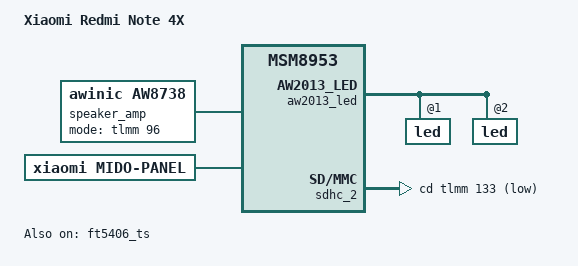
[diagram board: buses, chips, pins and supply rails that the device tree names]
// SPDX-License-Identifier: BSD-3-Clause
/dts-v1/;

#include "msm8953-xiaomi-common.dtsi"

/delete-node/ &cont_splash_mem;
/delete-node/ &qseecom_mem;

/ {
	model = "Xiaomi Redmi Note 4X";
	compatible = "xiaomi,mido", "qcom,msm8953";
	qcom,board-id = <11 0>;

	aliases {
		mmc0 = &sdhc_1;
		mmc1 = &sdhc_2;
	};

	speaker_amp: audio-amplifier {
		compatible = "awinic,aw8738";
		mode-gpios = <&tlmm 96 GPIO_ACTIVE_HIGH>;
		awinic,mode = <5>;
		sound-name-prefix = "Speaker Amp";
	};

	chosen {
		#address-cells = <2>;
		#size-cells = <2>;
		ranges;

		framebuffer@90001000 {
			compatible = "simple-framebuffer";
			reg = <0 0x90001000 0 (1920 * 1080 * 3)>;

			width = <1080>;
			height = <1920>;
			stride = <(1080 * 3)>;
			format = "r8g8b8";

			power-domains = <&gcc MDSS_GDSC>;

			clocks = <&gcc GCC_MDSS_AHB_CLK>,
				 <&gcc GCC_MDSS_AXI_CLK>,
				 <&gcc GCC_MDSS_VSYNC_CLK>,
				 <&gcc GCC_MDSS_MDP_CLK>,
				 <&gcc GCC_MDSS_BYTE0_CLK>,
				 <&gcc GCC_MDSS_PCLK0_CLK>,
				 <&gcc GCC_MDSS_ESC0_CLK>;
		};
	};

	reserved-memory {
		qseecom_mem: qseecom@84a00000 {
			reg = <0x0 0x84a00000 0x0 0x1900000>;
			no-map;
		};

		cont_splash_mem: cont-splash@90001000 {
			reg = <0x0 0x90001000 0x0 (1080 * 1920 * 3)>;
			no-map;
		};

		ramoops@9ff00000 {
			compatible = "ramoops";
			reg = <0x0 0x9ff00000 0x0 0x00100000>;
			console-size = <0x100000>;
		};
	};
};

&aw2013_led {
	status = "okay";

	led@1 {
		reg = <1>;
		color = <LED_COLOR_ID_GREEN>;
		function = LED_FUNCTION_INDICATOR;
		led-max-microamp = <5000>;
	};

	led@2 {
		reg = <2>;
		color = <LED_COLOR_ID_BLUE>;
		function = LED_FUNCTION_INDICATOR;
		led-max-microamp = <5000>;
	};
};

&battery {
	charge-full-design-microamp-hours = <4100000>;
	constant-charge-current-max-microamp = <1000000>;
	voltage-min-design-microvolt = <3400000>;
	voltage-max-design-microvolt = <4380000>;
};

&ft5406_ts {
	status = "okay";

	touchscreen-size-x = <1080>;
	touchscreen-size-y = <1920>;
};

&panel {
	compatible = "xiaomi,mido-panel";
};

&sdhc_2 {
	cd-gpios = <&tlmm 133 GPIO_ACTIVE_LOW>;
};

&sound_card {

	model = "xiaomi-mido";

	aux-devs = <&speaker_amp>;
	audio-routing =
		"AMIC1", "MIC BIAS External1",
		"AMIC2", "MIC BIAS Internal2",
		"AMIC3", "MIC BIAS External1";

	pinctrl-names = "default", "sleep";
	pinctrl-0 = <&cdc_pdm_lines_act &cdc_pdm_lines_2_act &cdc_pdm_comp_lines_act>;
	pinctrl-1 = <&cdc_pdm_lines_sus &cdc_pdm_lines_2_sus &cdc_pdm_comp_lines_sus>;

	status = "okay";
};

&tlmm {
	gpio-reserved-ranges = <0 4>, <135 4>;
};

&wcd_codec {
	/delete-property/ qcom,gnd-jack-type-normally-open;
	/delete-property/ qcom,hphl-jack-type-normally-open;
};
